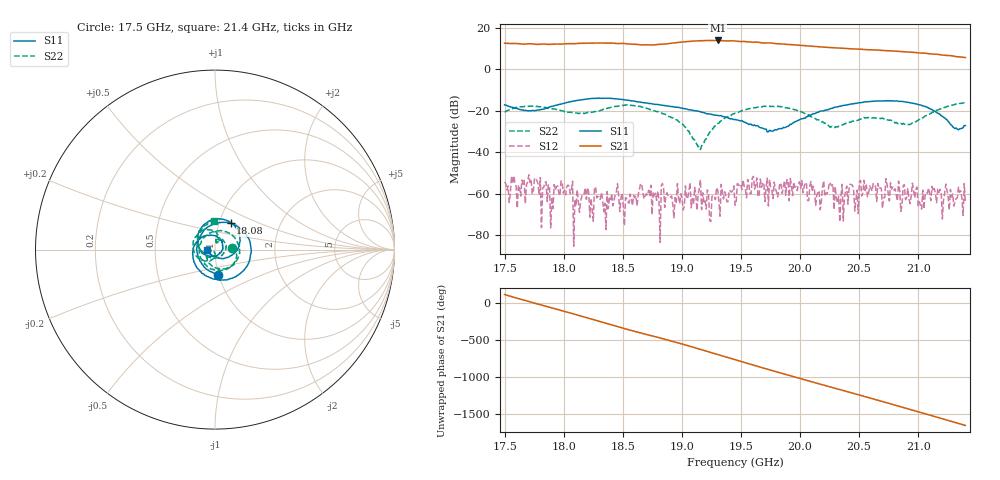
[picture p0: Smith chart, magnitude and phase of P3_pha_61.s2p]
!Created with skrf (http://scikit-rf.org).
# GHz S RI R 50.0
!freq ReS11 ImS11 ReS21 ImS21 ReS12 ImS12 ReS22 ImS22
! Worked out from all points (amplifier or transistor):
!   401 points, 17.5 GHz to 21.4 GHz, reference 50 ohm
!   highest |S21| = 14.0 dB at 19.3 GHz (marker M1)
!   |S21| within 3 dB of that: start of sweep to 20.16 GHz
!   unconditionally stable (mu >= 1): start of sweep to end of sweep
!   at 18.14 GHz: K = 167.42, MAG = 12.8 dB, |S12| = -63.4 dB
!   at 19.45 GHz: K = 193.00, MAG = 13.7 dB, |S12| = -65.5 dB
!   at 21.4 GHz: K = 400.52, MAG = 5.8 dB, |S12| = -64.0 dB
!   S11 on the Smith chart (normalised r, x): 17.5 GHz: 1.00, -0.28; 18.08 GHz: 1.14, +0.34; 21.4 GHz: 0.92, -0.01
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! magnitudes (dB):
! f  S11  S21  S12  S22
! 17.5 GHz  -17.1  12.6  -54.2  -20.6
! 18.08 GHz  -15.4  12.4  -53.9  -20.8
! 18.15 GHz  -14.6  12.6  -61.3  -21.0
! 18.23 GHz  -14.0  12.7  -62.2  -20.7
! 18.28 GHz  -14.0  12.7  -61.9  -20.2
! 18.36 GHz  -13.9  12.7  -77.2  -19.0
! 18.45 GHz  -14.2  12.5  -59.0  -17.9
! 18.49 GHz  -14.5  12.5  -59.7  -17.4
! 18.65 GHz  -15.8  11.8  -55.0  -17.9
! 18.81 GHz  -17.0  12.1  -63.5  -20.6
! 19.15 GHz  -20.3  13.8  -57.5  -37.2
! 19.3 GHz  -22.2  14.0  -58.3  -26.1
! 19.45 GHz  -24.1  13.7  -65.5  -21.1
! 19.74 GHz  -29.3  12.8  -53.2  -17.7
! 20.1 GHz  -21.6  11.2  -58.9  -23.1
! 20.26 GHz  -18.9  10.6  -55.2  -27.9
! 20.36 GHz  -17.5  10.2  -55.4  -26.9
! 20.43 GHz  -16.7  9.9  -55.6  -25.3
! 20.47 GHz  -16.4  9.9  -62.5  -24.6
! 20.52 GHz  -16.0  9.7  -61.0  -23.7
! 20.76 GHz  -15.1  9.0  -63.4  -24.5
! 21.4 GHz  -27.1  5.7  -64.0  -15.9
